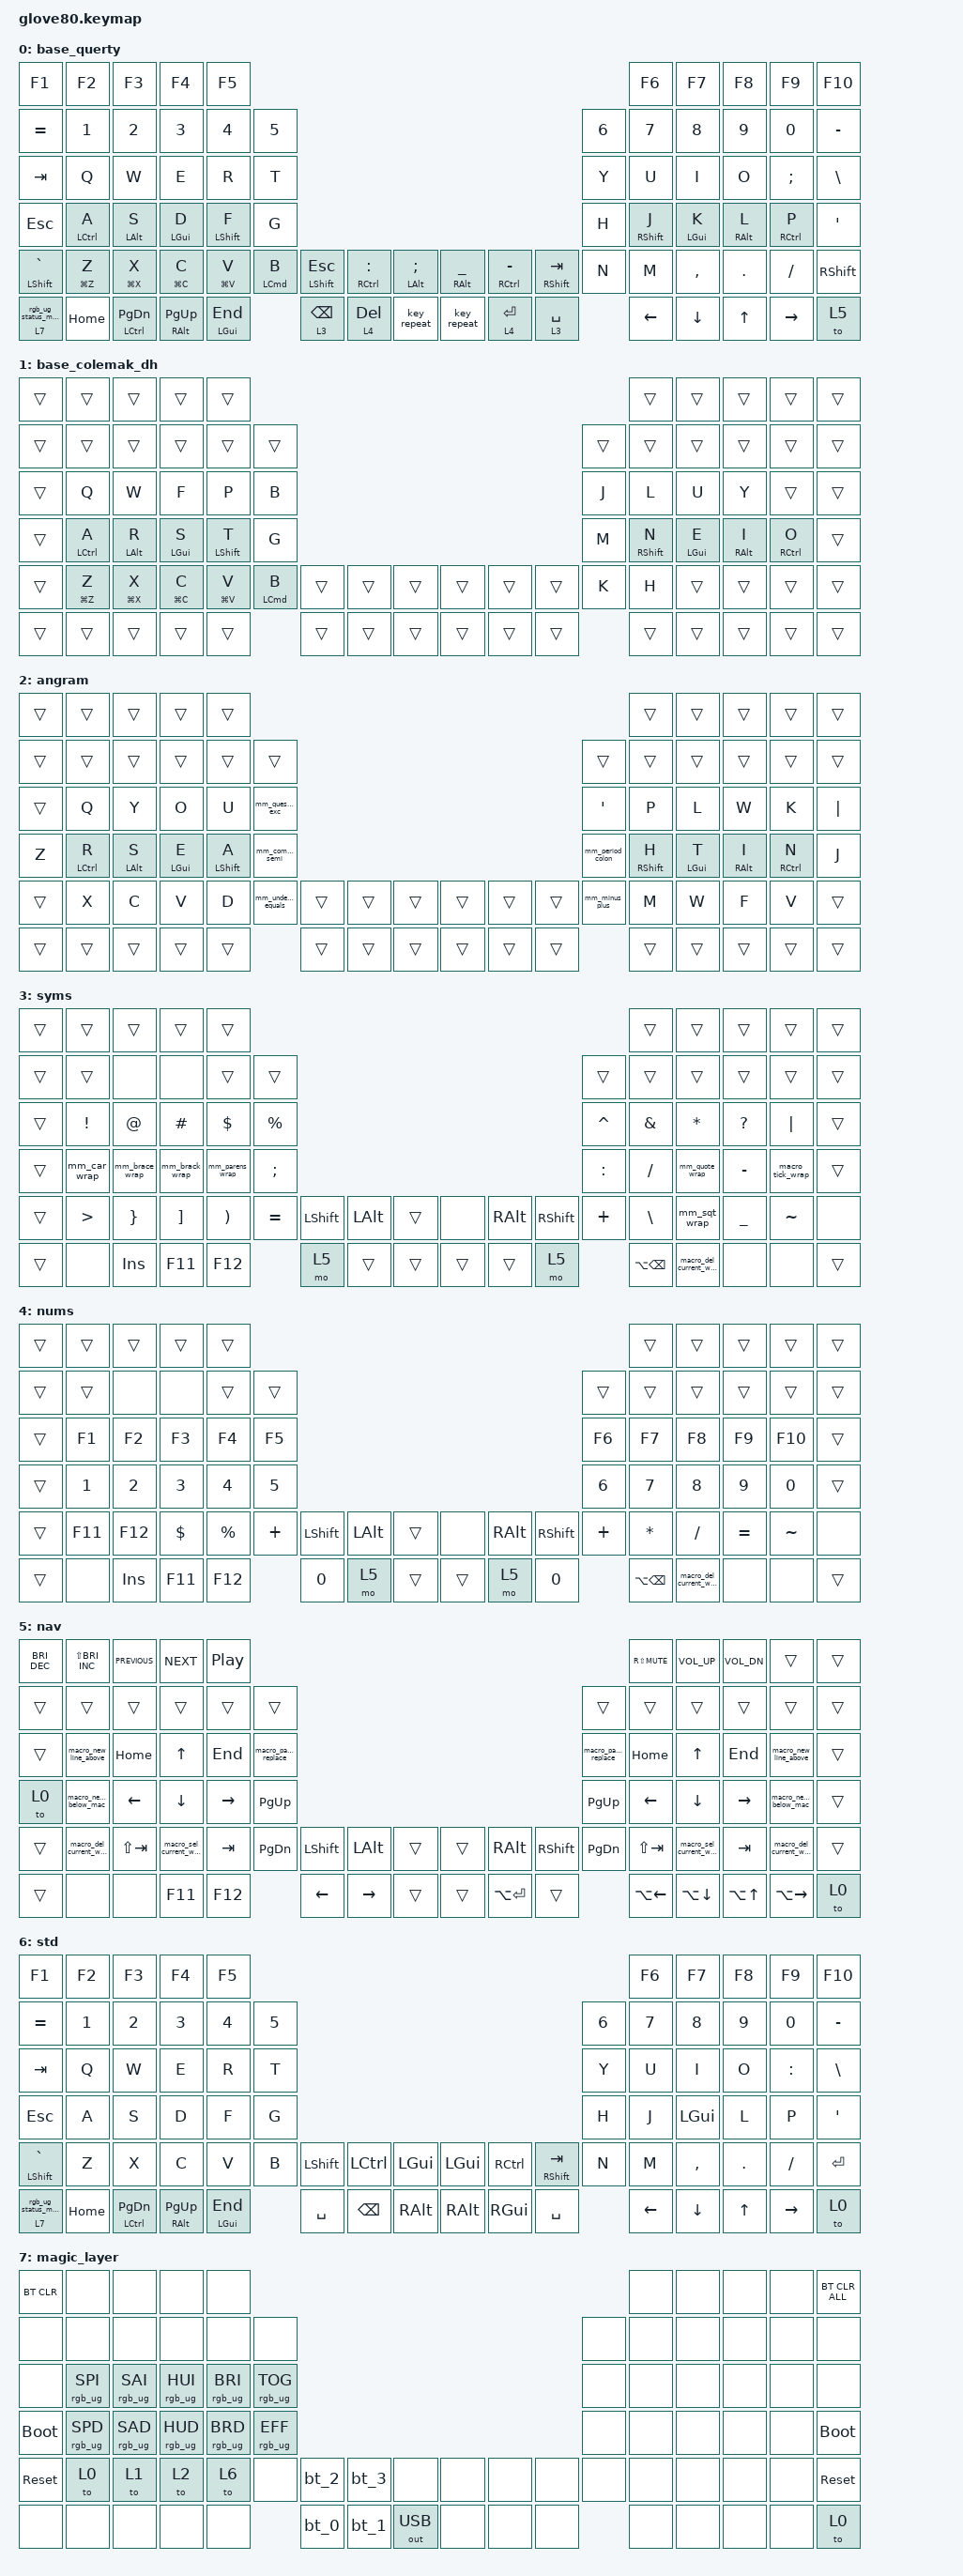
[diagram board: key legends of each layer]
/*
 * Copyright (c) 2020 The ZMK Contributors
 *
 * SPDX-License-Identifier: MIT
 */

#include <behaviors.dtsi>
#include <dt-bindings/zmk/bt.h>
#include <dt-bindings/zmk/keys.h>
#include <dt-bindings/zmk/outputs.h>
#include <dt-bindings/zmk/rgb.h>

#define HYPER LC(LS(LG(LALT)))

// layers

#define DEFAULT 0
#define LOWER 1
#define MAGIC 2
#define FACTORY_TEST 3

&caps_word { continue-list = <UNDERSCORE BACKSPACE DELETE MINUS>; };

/ {
    behaviors {
        // For the "layer" key, it'd nice to be able to use it as either a shift or a toggle.
        // Configure it as a tap dance, so the first tap (or hold) is a &mo and the second tap is a &to

        layer_td: tap_dance_0 {
            compatible = "zmk,behavior-tap-dance";
            label = "LAYER_TAP_DANCE";
            #binding-cells = <0>;
            tapping-term-ms = <200>;
            bindings = <&mo 0>, <&to 6>;
        };

        magic: magic_hold_tap {
            compatible = "zmk,behavior-hold-tap";
            label = "MAGIC_HOLD_TAP";
            #binding-cells = <2>;
            flavor = "tap-preferred";
            tapping-term-ms = <200>;
            bindings = <&mo>, <&rgb_ug_status_macro>;
        };

        ht_kp: ht_kp {
            compatible = "zmk,behavior-hold-tap";
            label = "HT_KP";
            bindings = <&kp>, <&kp>;

            #binding-cells = <2>;
            tapping-term-ms = <300>;
            flavor = "tap-preferred";
            quick-tap-ms = <250>;
        };

        ht_mo: ht_mo {
            compatible = "zmk,behavior-hold-tap";
            label = "HT_MO";
            bindings = <&mo>, <&kp>;

            #binding-cells = <2>;
            tapping-term-ms = <200>;
            flavor = "tap-preferred";
            quick-tap-ms = <200>;
        };

        td_shift_caps_word: td_shift_caps_word {
            compatible = "zmk,behavior-tap-dance";
            label = "TD_SHIFT_CAPS_WORD";
            #binding-cells = <0>;
            bindings = <&kp LEFT_SHIFT>, <&caps_word>;
        };

        ht_kp_lt: ht_kp_lt {
            compatible = "zmk,behavior-hold-tap";
            label = "HT_KP_LT";
            bindings = <&kp>, <&kp>;

            #binding-cells = <2>;
            tapping-term-ms = <250>;
            flavor = "tap-preferred";
            quick-tap-ms = <200>;
            require-prior-idle-ms = <300>;
            hold-trigger-on-release;
            hold-trigger-key-positions = <5 6 7 8 9 17 18 19 20 21 29 30 31 32 33 41 42 43 44 45 59 60 61 62 63 75 76 77 78 79 16 28 40 58 74 55 56 72 73 56 57 58 73 74 69 52 53 54 71 70>;
        };

        ht_kp_rt: ht_kp_rt {
            compatible = "zmk,behavior-hold-tap";
            label = "HT_KP_RT";
            bindings = <&kp>, <&kp>;

            #binding-cells = <2>;
            tapping-term-ms = <250>;
            flavor = "tap-preferred";
            quick-tap-ms = <200>;
            hold-trigger-on-release;
            hold-trigger-key-positions = <53 54 0 1 2 3 4 10 11 12 13 14 15 22 23 24 25 26 27 34 35 36 37 38 39 46 47 48 49 50 51 52 53 54 64 65 66 67 68 69 70 71 72 57 73 56 55 74>;
        };

        ht_sk_kp: ht_sk_kp {
            compatible = "zmk,behavior-hold-tap";
            label = "HT_SK_KP";
            bindings = <&sk>, <&ht_kp>;

            #binding-cells = <2>;
            tapping-term-ms = <200>;
            quick-tap-ms = <150>;
        };

        ht_layer_mo_to: ht_layer_mo_to {
            compatible = "zmk,behavior-hold-tap";
            label = "HT_LAYER_MO_TO";
            bindings = <&mo>, <&to>;

            #binding-cells = <2>;
            tapping-term-ms = <250>;
            quick-tap-ms = <200>;
            require-prior-idle-ms = <300>;
        };

        ht_parens_wrap: ht_parens_wrap {
            compatible = "zmk,behavior-hold-tap";
            label = "HT_PARENS_WRAP";
            bindings = <&macro_parens_wrap>, <&kp>;

            #binding-cells = <2>;
            flavor = "tap-preferred";
            tapping-term-ms = <500>;
        };

        ht_brac_wrap: ht_brac_wrap {
            compatible = "zmk,behavior-hold-tap";
            label = "HT_BRAC_WRAP";
            bindings = <&macro_brack_wrap>, <&kp>;

            #binding-cells = <2>;
            tapping-term-ms = <500>;
            flavor = "tap-preferred";
        };

        ht_carrot_wrap: ht_carrot_wrap {
            compatible = "zmk,behavior-hold-tap";
            label = "HT_CARROT_WRAP";
            bindings = <&macro_carrot_wrap>, <&kp>;

            #binding-cells = <2>;
            tapping-term-ms = <350>;
            flavor = "tap-preferred";
        };

        mm_comma_semi: mm_comma_semi {
            compatible = "zmk,behavior-mod-morph";
            label = "MM_COMMA_SEMI";
            bindings = <&kp COMMA>, <&kp SEMICOLON>;

            #binding-cells = <0>;
            mods = <(MOD_LSFT|MOD_RSFT)>;
        };

        mm_period_colon: mm_period_colon {
            compatible = "zmk,behavior-mod-morph";
            label = "MM_PERIOD_COLON";
            bindings = <&kp PERIOD>, <&kp COLON>;

            #binding-cells = <0>;
            mods = <(MOD_LSFT|MOD_RSFT)>;
        };

        mm_question_exc: mm_question_exc {
            compatible = "zmk,behavior-mod-morph";
            label = "MM_QUESTION_EXC";
            bindings = <&kp QUESTION>, <&kp EXCLAMATION>;

            #binding-cells = <0>;
            mods = <(MOD_LSFT|MOD_RSFT)>;
        };

        mm_slashes: mm_slashes {
            compatible = "zmk,behavior-mod-morph";
            label = "MM_SLASHES";
            bindings = <&kp SLASH>, <&kp BACKSLASH>;

            #binding-cells = <0>;
            mods = <(MOD_LSFT|MOD_RSFT)>;
        };

        mm_minus_plus: mm_minus_plus {
            compatible = "zmk,behavior-mod-morph";
            label = "MM_MINUS_PLUS";
            bindings = <&kp MINUS>, <&kp PLUS>;

            #binding-cells = <0>;
            mods = <(MOD_LSFT|MOD_RSFT)>;
        };

        mm_underscrore_equals: mm_underscrore_equals {
            compatible = "zmk,behavior-mod-morph";
            label = "MM_UNDERSCRORE_EQUALS";
            bindings = <&kp UNDER>, <&kp EQUAL>;

            #binding-cells = <0>;
            mods = <(MOD_LSFT|MOD_RSFT)>;
        };

        mm_brack_wrap: mm_brack_wrap {
            compatible = "zmk,behavior-mod-morph";
            label = "MM_BRACK_WRAP";
            bindings = <&kp LEFT_BRACKET>, <&macro_brack_wrap>;

            #binding-cells = <0>;
            mods = <(MOD_LSFT|MOD_RSFT)>;
        };

        mm_brace_wrap: mm_brace_wrap {
            compatible = "zmk,behavior-mod-morph";
            label = "MM_BRACE_WRAP";
            bindings = <&kp LEFT_BRACE>, <&macro_brace_wrap>;

            #binding-cells = <0>;
            mods = <(MOD_LSFT|MOD_RSFT)>;
        };

        mm_car_wrap: mm_car_wrap {
            compatible = "zmk,behavior-mod-morph";
            label = "MM_CAR_WRAP";
            bindings = <&kp LESS_THAN>, <&macro_carrot_wrap>;

            #binding-cells = <0>;
            mods = <(MOD_LSFT|MOD_RSFT)>;
        };

        mm_parens_wrap: mm_parens_wrap {
            compatible = "zmk,behavior-mod-morph";
            label = "MM_PARENS_WRAP";
            bindings = <&kp LEFT_PARENTHESIS>, <&macro_parens_wrap>;

            #binding-cells = <0>;
            mods = <(MOD_LSFT|MOD_RSFT)>;
        };

        mm_quote_wrap: mm_quote_wrap {
            compatible = "zmk,behavior-mod-morph";
            label = "MM_QUOTE_WRAP";
            bindings = <&kp DOUBLE_QUOTES>, <&macro_quote_wrap>;

            #binding-cells = <0>;
            mods = <(MOD_RSFT|MOD_LSFT)>;
        };

        mm_sqt_wrap: mm_sqt_wrap {
            compatible = "zmk,behavior-mod-morph";
            label = "MM_SQT_WRAP";
            bindings = <&kp SINGLE_QUOTE>, <&macro_sqt_wrap>;

            #binding-cells = <0>;
            mods = <(MOD_LSFT|MOD_RSFT)>;
        };

        mm_grave_wrap: mm_grave_wrap {
            compatible = "zmk,behavior-mod-morph";
            label = "MM_GRAVE_WRAP";
            bindings = <&kp GRAVE>, <&macro_tick_wrap>;

            #binding-cells = <0>;
            mods = <(MOD_LSFT|MOD_RSFT)>;
        };
    };

    macros {
        rgb_ug_status_macro: rgb_ug_status_macro_0 {
            label = "RGB_UG_STATUS";
            compatible = "zmk,behavior-macro";
            #binding-cells = <0>;
            bindings = <&rgb_ug RGB_STATUS>;
        };

        bt_0: bt_profile_macro_0 {
            label = "BT_0";
            compatible = "zmk,behavior-macro";
            #binding-cells = <0>;
            bindings = <&out OUT_BLE &bt BT_SEL 0>;
        };

        bt_1: bt_profile_macro_1 {
            label = "BT_1";
            compatible = "zmk,behavior-macro";
            #binding-cells = <0>;
            bindings = <&out OUT_BLE &bt BT_SEL 1>;
        };

        bt_2: bt_profile_macro_2 {
            label = "BT_2";
            compatible = "zmk,behavior-macro";
            #binding-cells = <0>;
            bindings = <&out OUT_BLE &bt BT_SEL 2>;
        };

        bt_3: bt_profile_macro_3 {
            label = "BT_3";
            compatible = "zmk,behavior-macro";
            #binding-cells = <0>;
            bindings = <&out OUT_BLE &bt BT_SEL 3>;
        };

        macro_and: macro_and {
            compatible = "zmk,behavior-macro";
            #binding-cells = <0>;
            bindings = <&kp A &kp N &kp D>;
            label = "MACRO_AND";
        };

        macro_for: macro_for {
            compatible = "zmk,behavior-macro";
            #binding-cells = <0>;
            bindings = <&kp F &kp O &kp R>;
            label = "MACRO_FOR";
        };

        macro_you: macro_you {
            compatible = "zmk,behavior-macro";
            #binding-cells = <0>;
            bindings = <&kp Y &kp O &kp U>;
            label = "MACRO_YOU";
        };

        macro_not: macro_not {
            compatible = "zmk,behavior-macro";
            #binding-cells = <0>;
            bindings = <&kp N &kp O &kp T>;
            label = "MACRO_NOT";
        };

        macro_that: macro_that {
            compatible = "zmk,behavior-macro";
            #binding-cells = <0>;
            bindings = <&kp T &kp H &kp A &kp T>;
            label = "MACRO_THAT";
        };

        macro_this: macro_this {
            compatible = "zmk,behavior-macro";
            #binding-cells = <0>;
            bindings = <&kp T &kp H &kp I &kp S>;
            label = "MACRO_THIS";
        };

        macro_new_line_below_mac: macro_new_line_below_mac {
            compatible = "zmk,behavior-macro";
            #binding-cells = <0>;
            bindings = <&kp END &kp ENTER>;
            label = "MACRO_NEW_LINE_BELOW_MAC";
        };

        macro_new_line_above: macro_new_line_above {
            compatible = "zmk,behavior-macro";
            #binding-cells = <0>;
            bindings = <&kp UP_ARROW &kp END &kp ENTER>;
            label = "MACRO_NEW_LINE_ABOVE";
        };

        macro_chopsuey: macro_chopsuey {
            compatible = "zmk,behavior-macro";
            #binding-cells = <0>;
            bindings = <&kp C &kp H &kp N0 &kp P &kp S &kp U &kp N3 &kp Y>;
            label = "MACRO_CHOPSUEY";
        };

        combo_when: combo_when {
            compatible = "zmk,behavior-macro";
            #binding-cells = <0>;
            bindings = <&kp W &kp H &kp E &kp N>;
            label = "COMBO_WHEN";
        };

        macro_then: macro_then {
            compatible = "zmk,behavior-macro";
            #binding-cells = <0>;
            bindings = <&kp T &kp H &kp E &kp N>;
            label = "MACRO_THEN";
        };

        macro_than: macro_than {
            compatible = "zmk,behavior-macro";
            #binding-cells = <0>;
            bindings = <&kp T &kp H &kp A &kp N>;
            label = "MACRO_THAN";
        };

        macro_why: macro_why {
            compatible = "zmk,behavior-macro";
            #binding-cells = <0>;
            bindings = <&kp W &kp H &kp Y>;
            label = "MACRO_WHY";
        };

        macro_because: macro_because {
            compatible = "zmk,behavior-macro";
            #binding-cells = <0>;
            bindings = <&kp B &kp E &kp C &kp A &kp U &kp S &kp E>;
            label = "MACRO_BECAUSE";
        };

        macro_said: macro_said {
            compatible = "zmk,behavior-macro";
            #binding-cells = <0>;
            bindings = <&kp S &kp A &kp I &kp D>;
            label = "MACRO_SAID";
        };

        macro_would: macro_would {
            compatible = "zmk,behavior-macro";
            #binding-cells = <0>;
            bindings = <&kp W &kp O &kp U &kp L &kp D>;
            label = "MACRO_WOULD";
        };

        macro_sel_current_word: macro_sel_current_word {
            compatible = "zmk,behavior-macro";
            #binding-cells = <0>;
            bindings = <&kp RA(RIGHT) &kp LA(LS(LEFT_ARROW))>;
            label = "MACRO_SEL_CURRENT_WORD";
        };

        macro_del_current_word: macro_del_current_word {
            compatible = "zmk,behavior-macro";
            #binding-cells = <0>;
            bindings = <&kp LA(RIGHT_ARROW) &kp LA(BACKSPACE)>;
            label = "MACRO_DEL_CURRENT_WORD";
        };

        macro_paste_replace: macro_paste_replace {
            compatible = "zmk,behavior-macro";
            #binding-cells = <0>;
            bindings = <&kp LA(RIGHT) &kp LA(LS(LEFT)) &kp LG(P)>;
            label = "MACRO_PASTE_REPLACE";
        };

        macro_please: macro_please {
            compatible = "zmk,behavior-macro";
            #binding-cells = <0>;
            bindings = <&kp P &kp L &kp E &kp A &kp S &kp E>;
            label = "MACRO_PLEASE";
        };

        macro_the: macro_the {
            compatible = "zmk,behavior-macro";
            #binding-cells = <0>;
            bindings = <&kp T &kp H &kp E>;
            label = "MACRO_THE";
        };

        macro_account: macro_account {
            compatible = "zmk,behavior-macro";
            #binding-cells = <0>;
            bindings = <&kp A &kp C &kp C &kp O &kp U &kp N &kp T>;
            label = "MACRO_ACCOUNT";
        };

        macro_question: macro_question {
            compatible = "zmk,behavior-macro";
            #binding-cells = <0>;
            bindings = <&kp Q &kp U &kp E &kp S &kp T &kp I &kp O &kp N>;
            label = "MACRO_QUESTION";
        };

        macro_fearisthemindkiller: macro_fearisthemindkiller {
            compatible = "zmk,behavior-macro";
            #binding-cells = <0>;
            bindings = <&kp F &kp N3 &kp AT &kp R &kp EXCL &kp DLLR &kp T &kp H &kp N3 &kp M &kp N1 &kp N &kp D &kp K &kp N1 &kp L &kp L &kp N3 &kp R>;
            label = "MACRO_FEARISTHEMINDKILLER";
        };

        macro_parens_wrap: macro_parens_wrap {
            compatible = "zmk,behavior-macro";
            #binding-cells = <0>;
            bindings = <&kp LA(RIGHT_ARROW) &kp RPAR &kp LEFT_ARROW &kp LA(LEFT_ARROW) &kp LEFT_PARENTHESIS>;
            label = "MACRO_PARENS_WRAP";
        };

        macro_brack_wrap: macro_brack_wrap {
            compatible = "zmk,behavior-macro";
            #binding-cells = <0>;
            bindings = <&kp LA(RIGHT_ARROW) &kp RIGHT_BRACKET &kp LEFT_ARROW &kp LA(LEFT_ARROW) &kp LEFT_BRACKET>;
            label = "MACRO_BRACK_WRAP";
        };

        macro_brace_wrap: macro_brace_wrap {
            compatible = "zmk,behavior-macro";
            #binding-cells = <0>;
            bindings = <&kp LA(RIGHT_ARROW) &kp RIGHT_BRACE &kp LEFT_ARROW &kp LA(LEFT_ARROW) &kp LEFT_BRACE>;
            label = "MACRO_BRACE_WRAP";
        };

        macro_carrot_wrap: ht_carrot_wrap {
            compatible = "zmk,behavior-macro";
            #binding-cells = <0>;
            bindings = <&kp LA(RIGHT_ARROW) &kp GREATER_THAN &kp LEFT_ARROW &kp LA(LEFT_ARROW) &kp LESS_THAN>;
            label = "HT_CARROT_WRAP";
        };

        macro_quote_wrap: macro_quote_wrap {
            compatible = "zmk,behavior-macro";
            #binding-cells = <0>;
            bindings = <&kp LA(RIGHT_ARROW) &kp DOUBLE_QUOTES &kp LEFT &kp LA(LEFT_ARROW) &kp DOUBLE_QUOTES>;
            label = "MACRO_QUOTE_WRAP";
        };

        macro_sqt_wrap: macro_sqt_wrap {
            compatible = "zmk,behavior-macro";
            #binding-cells = <0>;
            bindings = <&kp LA(RIGHT_ARROW) &kp GRAVE &kp LEFT &kp LA(LEFT_ARROW) &kp GRAVE>;
            label = "MACRO_SQT_WRAP";
        };

        macro_trip_ticks: macro_trip_ticks {
            compatible = "zmk,behavior-macro";
            #binding-cells = <0>;
            bindings = <&kp GRAVE &kp GRAVE &kp GRAVE>;
            label = "MACRO_TRIP_TICKS";
        };

        macro_trip_quotes: macro_trip_quotes {
            compatible = "zmk,behavior-macro";
            #binding-cells = <0>;
            bindings = <&kp DOUBLE_QUOTES &kp DQT &kp DQT>;
            label = "MACRO_TRIP_QUOTES";
        };

        macro_tick_wrap: macro_tick_wrap {
            compatible = "zmk,behavior-macro";
            #binding-cells = <0>;
            bindings = <&kp LA(RIGHT_ARROW) &kp SQT &kp LEFT &kp LA(LEFT_ARROW) &kp SQT>;
            label = "MACRO_TICK_WRAP";
        };
    };

    combos {
        compatible = "zmk,combos";

        combo_caps_word {
            bindings = <&caps_word>;
            key-positions = <52 57>;
        };

        combo_underscore {
            bindings = <&kp UNDERSCORE>;
            key-positions = <60 61>;
            layers = <0>;
            timeout-ms = <100>;
            require-prior-idle-ms = <300>;
        };

        combo_backslash {
            bindings = <&kp BACKSLASH>;
            key-positions = <61 42>;
            timeout-ms = <100>;
            require-prior-idle-ms = <300>;
            layers = <0>;
        };

        combo_z {
            bindings = <&kp Z>;
            key-positions = <47 48>;
            timeout-ms = <75>;
            layers = <2>;
        };

        combo_j {
            bindings = <&kp J>;
            key-positions = <62 61>;
            timeout-ms = <75>;
            layers = <2>;
        };
    };

    keymap {
        compatible = "zmk,keymap";

        base_querty {
            // ---------------------------------------------------------------------------------------------------------------------------------
            // |  F1   |  F2 |  F3 |  F4  |  F5  |                                                               |  F6   |  F7   |  F8  |   F9  |  F10 |
            // |  =    |  1  |  2  |  3   |  4   |  5   |                                                 |  6   |   7   |   8   |  9   |   0   |   -  |
            // |  TAB  |  Q  |  W  |  E   |  R   |  T   |                                                 |  Y   |   U   |   I   |  O   |   P   |   \  |
            // |  ESC  |  A  |  S  |  D   |  F   |  G   |                                                 |  H   |   J   |   K   |  L   |   ;   |   '  |
            // |   `   |  Z  |  X  |  C   |  V   |  B   | LSHFT | LCTRL | LOWER | | LGUI  | RCTRL | RSHFT |  N   |   M   |   ,   |  .   |   /   | PGUP |
            // | MAGIC | HOME| END | LEFT | RIGHT|      | BSPC  | DEL   | LALT  | | RALT  | RET   | SPACE |      |  UP   | DOWN  |  [   |   ]   | PGDN |

            bindings = <
&kp F1                 &kp F2                    &kp F3                            &kp F4                  &kp F5                                                                                                                                                                                         &kp F6                   &kp F7            &kp F8            &kp F9             &kp F10
&kp EQUAL              &kp N1                    &kp N2                            &kp N3                  &kp N4              &kp N5                                                                                                                                                             &kp N6  &kp N7                   &kp N8            &kp N9            &kp N0             &kp MINUS
&kp TAB                &kp Q                     &kp W                             &kp E                   &kp R               &kp T                                                                                                                                                              &kp Y   &kp U                    &kp I             &kp O             &kp SEMICOLON      &kp BSLH
&kp ESC                &ht_kp_lt LEFT_CONTROL A  &ht_kp_lt LALT S                  &ht_kp_lt LGUI D        &ht_kp_lt LSHFT F   &kp G                                                                                                                                                              &kp H   &ht_kp_rt RIGHT_SHIFT J  &ht_kp_rt LGUI K  &ht_kp_rt RALT L  &ht_kp_rt RCTRL P  &kp SQT
&ht_kp_lt LSHFT GRAVE  &ht_kp LG(Z) Z            &ht_kp LG(X) X                    &ht_kp LG(C) C          &ht_kp LG(V) V      &ht_kp_lt LCMD B  &ht_kp_lt LEFT_SHIFT ESC  &ht_kp RCTRL COLON  &ht_kp LALT SEMICOLON  &ht_kp RIGHT_ALT UNDERSCORE  &ht_kp RCTRL MINUS  &ht_kp_rt RIGHT_SHIFT TAB  &kp N   &kp M                    &kp COMMA         &kp DOT           &kp FSLH           &kp RIGHT_SHIFT
&magic 7 0             &kp HOME                  &ht_kp_lt LEFT_CONTROL PAGE_DOWN  &ht_kp_lt RALT PAGE_UP  &ht_kp_lt LGUI END                    &ht_mo 3 BACKSPACE        &ht_mo 4 DELETE     &key_repeat            &key_repeat                  &ht_mo 4 ENTER      &ht_mo 3 SPACE                     &kp LEFT                 &kp DOWN          &kp UP_ARROW      &kp RIGHT_ARROW    &to 5
            >;
        };

        base_colemak_dh {
            bindings = <
&trans  &trans                    &trans            &trans            &trans                                                                                       &trans                   &trans            &trans            &trans             &trans
&trans  &trans                    &trans            &trans            &trans             &trans                                                            &trans  &trans                   &trans            &trans            &trans             &trans
&trans  &kp Q                     &kp W             &kp F             &kp P              &kp B                                                             &kp J   &kp L                    &kp U             &kp Y             &trans             &trans
&trans  &ht_kp_lt LEFT_CONTROL A  &ht_kp_lt LALT R  &ht_kp_lt LGUI S  &ht_kp_lt LSHFT T  &kp G                                                             &kp M   &ht_kp_rt RIGHT_SHIFT N  &ht_kp_rt LGUI E  &ht_kp_rt RALT I  &ht_kp_rt RCTRL O  &trans
&trans  &ht_kp LG(Z) Z            &ht_kp LG(X) X    &ht_kp LG(C) C    &ht_kp LG(V) V     &ht_kp_lt LCMD B  &trans  &trans  &trans  &trans  &trans  &trans  &kp K   &kp H                    &trans            &trans            &trans             &trans
&trans  &trans                    &trans            &trans            &trans                               &trans  &trans  &trans  &trans  &trans  &trans          &trans                   &trans            &trans            &trans             &trans
            >;
        };

        angram {
            bindings = <
&trans  &trans                    &trans            &trans            &trans                                                                                                       &trans                   &trans            &trans            &trans             &trans
&trans  &trans                    &trans            &trans            &trans             &trans                                                                  &trans            &trans                   &trans            &trans            &trans             &trans
&trans  &kp Q                     &kp Y             &kp O             &kp U              &mm_question_exc                                                        &kp SQT           &kp P                    &kp L             &kp W             &kp K              &kp PIPE
&kp Z   &ht_kp_lt LEFT_CONTROL R  &ht_kp_lt LALT S  &ht_kp_lt LGUI E  &ht_kp_lt LSHFT A  &mm_comma_semi                                                          &mm_period_colon  &ht_kp_rt RIGHT_SHIFT H  &ht_kp_rt LGUI T  &ht_kp_rt RALT I  &ht_kp_rt RCTRL N  &kp J
&trans  &kp X                     &kp C             &kp V             &kp D              &mm_underscrore_equals  &trans  &trans  &trans  &trans  &trans  &trans  &mm_minus_plus    &kp M                    &kp W             &kp F             &kp V              &trans
&trans  &trans                    &trans            &trans            &trans                                     &trans  &trans  &trans  &trans  &trans  &trans                    &trans                   &trans            &trans            &trans             &trans
            >;
        };

        syms {
            bindings = <
&trans  &trans            &trans           &trans             &trans                                                                                                                   &trans             &trans                   &trans        &trans            &trans
&trans  &trans            &none            &none              &trans                 &trans                                                                                 &trans     &trans             &trans                   &trans        &trans            &trans
&trans  &kp EXCL          &kp AT_SIGN      &kp HASH           &kp DOLLAR             &kp PERCENT                                                                            &kp CARET  &kp AMPERSAND      &kp ASTRK                &kp QUESTION  &kp PIPE          &trans
&trans  &mm_car_wrap      &mm_brace_wrap   &mm_brack_wrap     &mm_parens_wrap        &kp SEMI                                                                               &kp COLON  &kp SLASH          &mm_quote_wrap           &kp MINUS     &macro_tick_wrap  &trans
&trans  &kp GREATER_THAN  &kp RIGHT_BRACE  &kp RIGHT_BRACKET  &kp RIGHT_PARENTHESIS  &kp EQUAL    &kp LEFT_SHIFT  &kp LALT  &trans  &none   &kp RIGHT_ALT  &kp RIGHT_SHIFT  &kp PLUS   &kp BACKSLASH      &mm_sqt_wrap             &kp UNDER     &kp TILDE         &none
&trans  &none             &kp INS          &kp F11            &kp F12                             &mo 5           &trans    &trans  &trans  &trans         &mo 5                       &kp LA(BACKSPACE)  &macro_del_current_word  &none         &none             &trans
            >;
        };

        nums {
            bindings = <
&trans  &trans   &trans   &trans      &trans                                                                                                     &trans             &trans                   &trans     &trans     &trans
&trans  &trans   &none    &none       &trans       &trans                                                                              &trans    &trans             &trans                   &trans     &trans     &trans
&trans  &kp F1   &kp F2   &kp F3      &kp F4       &kp F5                                                                              &kp F6    &kp F7             &kp F8                   &kp F9     &kp F10    &trans
&trans  &kp N1   &kp N2   &kp N3      &kp N4       &kp N5                                                                              &kp N6    &kp N7             &kp N8                   &kp N9     &kp N0     &trans
&trans  &kp F11  &kp F12  &kp DOLLAR  &kp PERCENT  &kp PLUS  &kp LEFT_SHIFT  &kp LALT  &trans  &none   &kp RIGHT_ALT  &kp RIGHT_SHIFT  &kp PLUS  &kp ASTERISK       &kp SLASH                &kp EQUAL  &kp TILDE  &none
&trans  &none    &kp INS  &kp F11     &kp F12                &kp N0          &mo 5     &trans  &trans  &mo 5          &kp N0                     &kp LA(BACKSPACE)  &macro_del_current_word  &none      &none      &trans
            >;
        };

        nav {
            bindings = <
&kp C_BRIGHTNESS_DEC  &kp LS(C_BRIGHTNESS_INC)   &kp C_PREVIOUS  &kp C_NEXT               &kp C_PLAY_PAUSE                                                                                                                            &kp RS(C_MUTE)  &kp C_VOLUME_UP          &kp C_VOL_DN      &trans                     &trans
&trans                &trans                     &trans          &trans                   &trans            &trans                                                                                              &trans                &trans          &trans                   &trans            &trans                     &trans
&trans                &macro_new_line_above      &kp HOME        &kp UP_ARROW             &kp END           &macro_paste_replace                                                                                &macro_paste_replace  &kp HOME        &kp UP_ARROW             &kp END           &macro_new_line_above      &trans
&to 0                 &macro_new_line_below_mac  &kp LEFT_ARROW  &kp DOWN_ARROW           &kp RIGHT         &kp PAGE_UP                                                                                         &kp PAGE_UP           &kp LEFT_ARROW  &kp DOWN_ARROW           &kp RIGHT         &macro_new_line_below_mac  &trans
&trans                &macro_del_current_word    &kp LS(TAB)     &macro_sel_current_word  &kp TAB           &kp PAGE_DOWN         &kp LEFT_SHIFT  &kp LEFT_ALT  &trans  &trans  &kp RIGHT_ALT  &kp RIGHT_SHIFT  &kp PAGE_DOWN         &kp LS(TAB)     &macro_sel_current_word  &kp TAB           &macro_del_current_word    &trans
&trans                &none                      &none           &kp F11                  &kp F12                                 &kp LEFT_ARROW  &kp RIGHT     &trans  &trans  &kp LA(ENTER)  &trans                                 &kp LA(LEFT)    &kp LA(DOWN)             &kp LA(UP_ARROW)  &kp LA(RIGHT)              &to 0
            >;
        };

        std {
            bindings = <
&kp F1                 &kp F2    &kp F3                            &kp F4                  &kp F5                                                                                                              &kp F6    &kp F7     &kp F8        &kp F9           &kp F10
&kp EQUAL              &kp N1    &kp N2                            &kp N3                  &kp N4              &kp N5                                                                                  &kp N6  &kp N7    &kp N8     &kp N9        &kp N0           &kp MINUS
&kp TAB                &kp Q     &kp W                             &kp E                   &kp R               &kp T                                                                                   &kp Y   &kp U     &kp I      &kp O         &kp COLON        &kp BSLH
&kp ESC                &kp A     &kp S                             &kp D                   &kp F               &kp G                                                                                   &kp H   &kp J     &kp LGUI   &kp L         &kp P            &kp SQT
&ht_kp_lt LSHFT GRAVE  &kp Z     &kp X                             &kp C                   &kp V               &kp B   &kp LSHFT  &kp LCTRL  &kp LGUI  &kp LGUI  &kp RCTRL  &ht_kp_rt RIGHT_SHIFT TAB  &kp N   &kp M     &kp COMMA  &kp DOT       &kp FSLH         &kp ENTER
&magic 7 0             &kp HOME  &ht_kp_lt LEFT_CONTROL PAGE_DOWN  &ht_kp_lt RALT PAGE_UP  &ht_kp_lt LGUI END          &kp SPACE  &kp BSPC   &kp RALT  &kp RALT  &kp RGUI   &kp SPACE                          &kp LEFT  &kp DOWN   &kp UP_ARROW  &kp RIGHT_ARROW  &to 0
            >;
        };

        magic_layer {
            bindings = <
&bt BT_CLR   &none            &none            &none            &none                                                                                     &none  &none  &none  &none  &bt BT_CLR_ALL
&none        &none            &none            &none            &none            &none                                                             &none  &none  &none  &none  &none  &none
&none        &rgb_ug RGB_SPI  &rgb_ug RGB_SAI  &rgb_ug RGB_HUI  &rgb_ug RGB_BRI  &rgb_ug RGB_TOG                                                   &none  &none  &none  &none  &none  &none
&bootloader  &rgb_ug RGB_SPD  &rgb_ug RGB_SAD  &rgb_ug RGB_HUD  &rgb_ug RGB_BRD  &rgb_ug RGB_EFF                                                   &none  &none  &none  &none  &none  &bootloader
&sys_reset   &to 0            &to 1            &to 2            &to 6            &none            &bt_2  &bt_3  &none         &none  &none  &none  &none  &none  &none  &none  &none  &sys_reset
&none        &none            &none            &none            &none                             &bt_0  &bt_1  &out OUT_USB  &none  &none  &none         &none  &none  &none  &none  &to 0
            >;
        };
    };

    conditional_layers { compatible = "zmk,conditional-layers"; };
};
